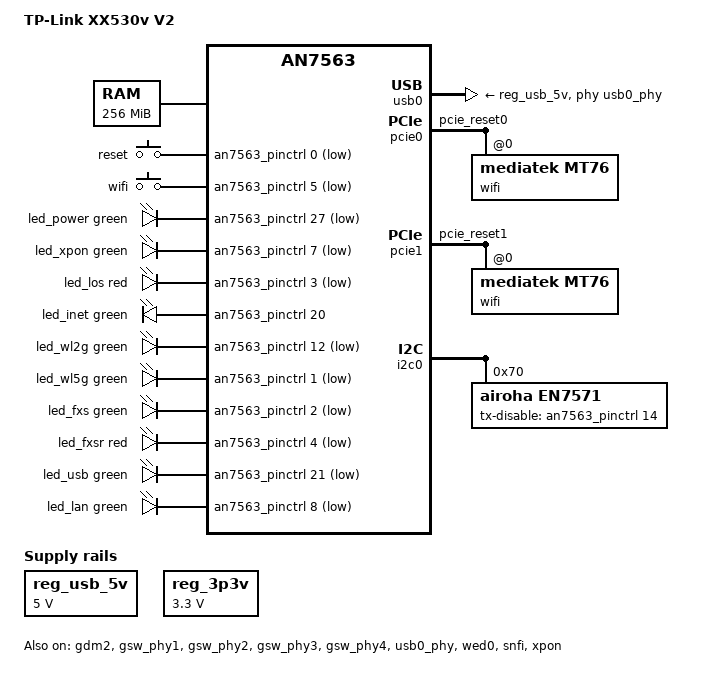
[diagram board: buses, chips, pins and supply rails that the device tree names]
// SPDX-License-Identifier: (GPL-2.0-only OR BSD-2-Clause)
/dts-v1/;

/*
 * TP-Link XX530v V2 (hw id "XX530vV2", vendor platform "JEDI"):
 * Airoha AN7552CT (the xPON package of the AN7563 die), 2x Cortex-A53 in
 * AArch32, 256 MiB PCDDR3, 128 MiB SPI-NAND (ESMT F50L1G41LB) with the
 * EcoNet BMT, GPON with an EN7571 laser driver, 4-port internal switch,
 * MT7916 (DBDC) on both PCIe links.
 *
 * The stock Econet U-Boot 2014.04 is kept and boots this board on its own.
 * Its default bootcmd is
 *
 *     bootcmd=flash tpimg;bootm 81800200
 *
 * "flash tpimg" reads the 512-byte TP-Link image tag from MTD_OFS_KERNEL
 * (0x620000), takes kernelLen from offset 0x78 of it and reloads
 * tag + kernelLen bytes to CONFIG_SYS_LOAD_ADDR (0x81800000), so the FIT
 * lands at 0x81800200 where "bootm" finds it.  The kernel is decompressed
 * to 0x80088000.
 *
 * Consequently the "kernel" partition below must hold the tagged FIT as raw
 * bytes - no UBI there - and the rootfs goes into the UBI partition that
 * follows.  See the partition table at the bottom of this file.
 */

/* ATF / BL31 resident area set up by the bootloader */
/memreserve/ 0x80000000 0x88000;

#include <dt-bindings/leds/common.h>
#include <dt-bindings/gpio/gpio.h>
#include <dt-bindings/input/input.h>
#include "an7563.dtsi"

/ {
	model = "TP-Link XX530v V2";
	compatible = "tplink,xx530v-v2", "airoha,an7552", "airoha,an7563";

	aliases {
		serial0 = &uart1;
		led-boot = &led_power;
		led-failsafe = &led_power;
		led-running = &led_power;
		led-upgrade = &led_power;
		label-mac-device = &gdm1;
	};

	chosen {
		/*
		 * Inert on this board, but kept in sync with CONFIG_CMDLINE in
		 * target/linux/airoha/an7563/config-6.18 so the intended
		 * command line is documented in one place too.  The stock
		 * bootloader overwrites this property unconditionally:
		 * image_setup_libfdt() calls fdt_chosen() with force=1
		 * (common/image-fdt.c:460), and fdt_chosen() then does
		 * fdt_setprop() with getenv("bootargs") because of the
		 * (path == NULL) || force test (common/fdt_support.c:265).
		 * CONFIG_CMDLINE_FORCE is what actually decides it.
		 */
		bootargs = "console=ttyS0,115200n8 earlycon root=/dev/ubiblock0_0 rootfstype=squashfs";

		/*
		 * This one is ours.  The bootloader leaves /chosen alone when
		 * the bootargs env variable is unset (the tftpboot/loady path),
		 * and earlycon without an explicit port resolves the console
		 * through of_chosen_stdout(), which reads exactly this.
		 */
		stdout-path = "serial0:115200n8";
	};

	memory@80000000 {
		device_type = "memory";
		reg = <0x80000000 0x10000000>;
	};

	/*
	 * xhci-mtk asks for "vbus" and "vusb33" and falls back to a dummy
	 * regulator for both.  The stock firmware has no USB power GPIO
	 * (led.conf and the stock DTB list none), so both rails are taken
	 * as always on: the 5 V VBUS of the port and the 3.3 V of the xHCI
	 * PHY.  If a GPIO switches VBUS on the board, put it on reg_usb_5v.
	 */
	reg_usb_5v: regulator-usb-5v {
		compatible = "regulator-fixed";
		regulator-name = "usb-vbus-5v";
		regulator-min-microvolt = <5000000>;
		regulator-max-microvolt = <5000000>;
		regulator-always-on;
		regulator-boot-on;
	};

	reg_3p3v: regulator-3p3v {
		compatible = "regulator-fixed";
		regulator-name = "fixed-3.3V";
		regulator-min-microvolt = <3300000>;
		regulator-max-microvolt = <3300000>;
		regulator-always-on;
		regulator-boot-on;
	};

	gpio-keys {
		compatible = "gpio-keys";

		reset {
			label = "reset";
			linux,code = <KEY_RESTART>;
			gpios = <&an7563_pinctrl 0 GPIO_ACTIVE_LOW>;
			debounce-interval = <100>;
		};

		wifi {
			label = "wifi";
			linux,code = <KEY_RFKILL>;
			gpios = <&an7563_pinctrl 5 GPIO_ACTIVE_LOW>;
			debounce-interval = <100>;
		};
	};

	gpio-leds {
		compatible = "gpio-leds";

		led_power: power {
			function = LED_FUNCTION_POWER;
			color = <LED_COLOR_ID_GREEN>;
			gpios = <&an7563_pinctrl 27 GPIO_ACTIVE_LOW>;
			default-state = "on";
		};

		led_xpon: xpon {
			color = <LED_COLOR_ID_GREEN>;
			function = "pon";
			gpios = <&an7563_pinctrl 7 GPIO_ACTIVE_LOW>;
			/* an7552-gpon LED trigger */
			linux,default-trigger = "xpon-pon";
		};

		led_los: los {
			color = <LED_COLOR_ID_RED>;
			function = "los";
			gpios = <&an7563_pinctrl 3 GPIO_ACTIVE_LOW>;
			linux,default-trigger = "xpon-los";
		};

		led_inet: inet {
			function = LED_FUNCTION_WAN_ONLINE;
			color = <LED_COLOR_ID_GREEN>;
			gpios = <&an7563_pinctrl 20 GPIO_ACTIVE_HIGH>;
		};

		led_wl2g: wl2g {
			function = LED_FUNCTION_WLAN_2GHZ;
			color = <LED_COLOR_ID_GREEN>;
			gpios = <&an7563_pinctrl 12 GPIO_ACTIVE_LOW>;
			linux,default-trigger = "phy0tpt";
		};

		led_wl5g: wl5g {
			function = LED_FUNCTION_WLAN_5GHZ;
			color = <LED_COLOR_ID_GREEN>;
			gpios = <&an7563_pinctrl 1 GPIO_ACTIVE_LOW>;
			linux,default-trigger = "phy1tpt";
		};

		led_fxs: fxs {
			color = <LED_COLOR_ID_GREEN>;
			function = "phone";
			gpios = <&an7563_pinctrl 2 GPIO_ACTIVE_LOW>;
		};

		led_fxsr: fxs-ring {
			color = <LED_COLOR_ID_RED>;
			function = "phone-ring";
			gpios = <&an7563_pinctrl 4 GPIO_ACTIVE_LOW>;
		};

		led_usb: usb {
			function = LED_FUNCTION_USB;
			color = <LED_COLOR_ID_GREEN>;
			gpios = <&an7563_pinctrl 21 GPIO_ACTIVE_LOW>;
		};

		led_lan: lan {
			function = LED_FUNCTION_LAN;
			color = <LED_COLOR_ID_GREEN>;
			gpios = <&an7563_pinctrl 8 GPIO_ACTIVE_LOW>;
		};
	};
};

&an7563_pinctrl {
	pcie0_rst_pins: pcie0-rst-pins {
		conf {
			pins = "pcie_reset0";
			drive-open-drain = <1>;
		};
	};

	pcie1_rst_pins: pcie1-rst-pins {
		conf {
			pins = "pcie_reset1";
			drive-open-drain = <1>;
		};
	};
};

&gdm1 {
	nvmem-cells = <&macaddr_lan 0>;
	nvmem-cell-names = "mac-address";
};

/*
 * GDM2 is the WAN port and is what makes airoha-eth touch QDMA1: the driver
 * picks &eth->qdma[1] for every non-LAN GDM device, so bringing this port
 * up starts the qdma1 rings, its four IRQ banks (SPI 38, 58, 59, 60) and the
 * GDM2 stats counters.
 *
 * This board is a GPON ONU: GDM2 feeds the on-chip xPON MAC, so there is no
 * PCS and no PHY behind it (phy-mode "internal", fixed-link; patch 925-04).
 * &pon_pcs stays disabled because &xpon owns the PON SerDes.
 *
 * The MAC cell is what keeps this netdev's address stable across boots.
 * Without it of_get_ethdev_address() finds nothing, the driver falls back to
 * eth_hw_addr_random() and every reboot logs a different "generated random
 * MAC address" line.  It is the &pon node's second cell (line below), and the
 * same one gdm1 takes: one factory address, shared, and nothing to conflict
 * over because neither address is ever sent - gdm1's goes to the frame engine
 * for the LAN ports and this one stays local, the datapath putting the GEM in
 * message header 0 so the OLT assigns what frames arrive with.  Only the low
 * bytes ever reach a register (airoha_set_macaddr() writes the MSBs to
 * REG_FE_WAN_MAC_H).
 */
&gdm2 {
	status = "okay";
	phy-mode = "internal";

	nvmem-cells = <&macaddr_lan 0>;
	nvmem-cell-names = "mac-address";

	fixed-link {
		speed = <2500>;
		full-duplex;
	};
};

&gsw_phy1 {
	status = "okay";
};

&gsw_phy2 {
	status = "okay";
};

&gsw_phy3 {
	status = "okay";
};

&gsw_phy4 {
	status = "okay";
};

&switch {
	ports {
		port@1 {
			label = "lan4";
			status = "okay";
		};

		port@2 {
			label = "lan3";
			status = "okay";
		};

		port@3 {
			label = "lan2";
			status = "okay";
		};

		port@4 {
			label = "lan1";
			status = "okay";
		};

	};
};

/*
 * The port is a 4 pin USB 2.0 socket (no SuperSpeed pairs; a USB 3.0 stick
 * links at 480 Mb/s on the stock unit too), so the USB3 side is left out:
 * its PHY is not listed, and the xHCI's only U3 port is disabled.
 */
&usb0 {
	phys = <&usb0_phy PHY_TYPE_USB2>;
	mediatek,u3p-dis-msk = <0x1>;
	vbus-supply = <&reg_usb_5v>;
	vusb33-supply = <&reg_3p3v>;
	status = "okay";
};

&usb0_phy {
	status = "okay";
};

/*
 * One MT7916 (DBDC, MT7976 RF): pcie0 is the main interface, pcie1 its
 * second HIF (device id 0x790a), which mt7915e picks up by itself and which
 * needs no node of its own.
 *
 * EEPROM: the flash holds a per-unit 4 KiB image at tclinux + 0x420000 (MISC
 * WiFi block).  It equals the generic /etc/MT7916_iPAiLNA_EEPROM.bin of the
 * vendor rootfs except for 72 bytes (MAC 00:0c:43:26:60:18 at offset 4 and
 * calibration values), so mt76 reads it from there through nvmem.
 */
/*
 * Wi-Fi TX offload through the WED (patches 928-xx).  The Wi-Fi card is a
 * single MT7916 DBDC on pcie0 (second HIF on pcie1), so one WED (WED0)
 * serves both bands.  The WED
 * is used only with "mt7915e wed_enable=1"; without it this just lets the
 * driver probe and the FE set up the WDMA flow control (928-02).
 */
&wed0 {
	status = "okay";
};

&wdma {
	status = "okay";
};

&pcie0 {
	pinctrl-names = "default";
	pinctrl-0 = <&pcie0_rst_pins>;
	status = "okay";

	pcie@0,0 {
		reg = <0x0000 0 0 0 0>;
		device_type = "pci";
		#address-cells = <3>;
		#size-cells = <2>;
		ranges;

		wifi@0,0 {
			compatible = "mediatek,mt76";
			reg = <0x0000 0 0 0 0>;
			/*
			 * WiFi RX through the NPU (mt76 patches 0102-0107).  The
			 * NPU port type is 2, as on the stock unit (PCIe windows
			 * 0x1fa90030..3c): band 1 (5 GHz) ring in the PCIe0
			 * window, band 0 (2.4 GHz) in the PCIe1 one.  Without
			 * the mt76 patches this property is ignored and wifi
			 * runs on the host.
			 */
			airoha,npu = <&npu>;
			airoha,eth = <&eth>;
			/*
			 * EEPROM is read by mt76 from tclinux + 0x420000
			 * (4 KiB).  No firmware-file fallback on purpose: if
			 * the cell cannot be read the failure has to be visible.
			 */
			nvmem-cells = <&eeprom_wifi>;
			nvmem-cell-names = "eeprom";
			#address-cells = <1>;
			#size-cells = <0>;

			/*
			 * MACs as on the stock unit: 2.4 GHz (ra0) the board
			 * MAC, 5 GHz (rai0) the board MAC + 2.  The EEPROM
			 * holds the generic 00:0c:43:26:60:18.
			 */
			band@0 {
				reg = <0>;
				nvmem-cells = <&macaddr_lan 0>;
				nvmem-cell-names = "mac-address";
			};

			band@1 {
				reg = <1>;
				nvmem-cells = <&macaddr_lan 2>;
				nvmem-cell-names = "mac-address";
			};
		};
	};
};

&pcie1 {
	pinctrl-names = "default";
	pinctrl-0 = <&pcie1_rst_pins>;
	status = "okay";

	pcie@0,0 {
		reg = <0x0000 0 0 0 0>;
		device_type = "pci";
		#address-cells = <3>;
		#size-cells = <2>;
		ranges;

		wifi@0,0 {
			compatible = "mediatek,mt76";
			reg = <0x0000 0 0 0 0>;
			/*
			 * WiFi RX through the NPU (mt76 patches 0102-0107).  The
			 * NPU port type is 2, as on the stock unit (PCIe windows
			 * 0x1fa90030..3c): band 1 (5 GHz) ring in the PCIe0
			 * window, band 0 (2.4 GHz) in the PCIe1 one.  Without
			 * the mt76 patches this property is ignored and wifi
			 * runs on the host.
			 */
			airoha,npu = <&npu>;
			airoha,eth = <&eth>;
		};
	};
};

&snfi {
	status = "okay";
};

&i2c0 {
	status = "okay";

	/*
	 * EN7571 laser driver / BOSA controller: the vendor driver reaches it
	 * through the sif wrapper on I2C adapter 0 (the only master,
	 * 0x1fbf8000), slave address 0x70.  There is no driver for this
	 * compatible yet, so nothing probes it; the node is left enabled so
	 * that adding the driver needs no DT change.
	 *
	 * en7571_init() programs bias/modulation current, so the driver must
	 * not be loaded on a board sharing the PON tree until the ONU has
	 * ranged: an ONU transmitting without ranging disturbs every other
	 * ONU behind the same splitter.  Until then the two transmitter lines
	 * below are requested asserted, which keeps the transmitter off.
	 */
	en7571: laser-driver@70 {
		compatible = "airoha,en7571";
		reg = <0x70>;
		#optical-frontend-cells = <0>;
		/*
		 * Transmitter disable line.  Stock /userfs/led.conf maps
		 * LED_PHY_TX_POWER_DISABLE (42) to GPIO 14, mode ONOFF, onoff 1
		 * (high = transmitter off).  LED_PHY_VCC_DISABLE (102) is
		 * "not used" (mode 0) on this board, so there is no BOSA VCC
		 * line.  en7571 requests the line asserted at probe, which
		 * keeps the laser off until the MAC enables it in O2.
		 */
		tx-disable-gpios = <&an7563_pinctrl 14 GPIO_ACTIVE_HIGH>;

		/*
		 * The BOSA calibration is a record at flash 0x4e0000 (magic
		 * 0x07050701 at offset 0x94), i.e. "oem" + 0xc0000.  The cell
		 * covers the whole matrix the driver uses, up to and including
		 * the Ibias/Imod LUT at 0xa0..0xdf (BOB_MAX_LEN); the layout is
		 * in package/kernel/en7571/src/en7571-hw.h.
		 *
		 * The cell is optional.  Without it (or with an unknown magic)
		 * the driver only arms the LOS detector and does not bring up
		 * the laser.  Stock instead falls back to the generic template
		 * /etc/7570_bob.conf; that is deliberately not copied, as it
		 * carries no trim of this BOSA.
		 */
		nvmem-cells = <&bosa_calibration>;
		nvmem-cell-names = "calibration";
	};
};

/*
 * &xpon is the whole GPON datapath: the GPON MAC and the PON SerDes PHY in
 * one node, one module (an7552-gpon).  The properties below are the
 * contract the driver reads (DOC-drv/25-driving-mainline.md).
 *
 * It shares 0x1faf3000-0x1faf4fff and the XPON_MAC / XPON_PHY resets with
 * pon_pcs, which therefore stays disabled on this board.
 */
&xpon {
	status = "okay";
	/*
	 * PON mode, deliberately absent, so the driver default (GPON) stands.
	 *
	 * The vendor numbers these the way Mode_Config_7552() branches on,
	 * (gpPhyPriv[0x58] & 0x7f) >> 3:
	 *
	 *   0  EPON (not supported by the driver)
	 *   1  GPON
	 *   10 GPON symmetric ("GPON_SYM_CONFIG")
	 *   11 a second GPON variant the vendor groups with mode 1
	 *
	 * and phy_mode_config() accepts exactly {1, 0, 10, 0xa705} - on both
	 * counts.  Writing 1 here was right and did not work: the driver
	 * carries its own numbering, GPON_MODE_GPON = 0 and
	 * GPON_MODE_GPON_SYM = 10 (uapi/gpon_genl.h), so 1 is not a mode
	 * it knows and an7552_phy_probe() rejected the whole platform device
	 * with -EOPNOTSUPP.  The two namespaces disagree about one value, and
	 * the property is the only place they would meet, so it is better left
	 * out than written in either.  This board is a GPON ONU either way.
	 *
	 * The SerDes sequence reads the mode for nine register values
	 * (an7552_mode_config_7552()), so a board that is not GPON would have
	 * to fix the enum rather than the DT - the driver would then take
	 * "GPON_SYM" and this board, which needs nothing, keeps its default.
	 */

	/*
	 * Delimiter and guard time.  Unlike the preamble this one is *not*
	 * board specific: the vendor writes the constant 0xaaab5983 from code,
	 * so the property is only here to make the value visible and
	 * overridable.  Every other value is a different guard time pattern.
	 */
	airoha,guard-bit-delimiter = <0xaaab5983>;

	/*
	 * Preamble pattern and extended preamble.
	 *
	 * Both registers have no default anywhere in the vendor: they are only
	 * written through the API call that carries whatever the OLT
	 * negotiated.  With no such call they keep their reset value, so the
	 * driver only touches them when a property is present here.  Omitting
	 * a property leaves the register alone rather than writing zero over
	 * the reset value, which is a different thing.
	 *
	 * phy_gpon_delimiter_guard() splits the guard register into a
	 * delimiter pattern in bits 23:0 and a guard time in bits 31:24, which
	 * is how the single value above is split.
	 */
	/* airoha,gpon-preamble / airoha,gpon-extend-preamble: not set */

	/*
	 * Bit delay.  The vendor accepts a value only below eight and writes it
	 * into the low byte of the CDR register; anything larger is refused as
	 * an error, so that is the range here too.  Zero leaves the register at
	 * its reset value.
	 */
	airoha,digital-bit-delay = <0>;

	/*
	 * Read from a running stock unit (PHY_CSR_XPON_SETTING 0x1faf0138 =
	 * 0x14f: RX SD/LOS inverted, PMA 0x1faf4100 bit 29 set; burst enable
	 * not inverted, PMA 0x1faf4200 bit 24 clear) and its TX swing
	 * (ANATXREG1 0x1faf01a0 [19:16] = 9).
	 *
	 * All four polarities are board wiring of this node and are read at
	 * probe, whether or not an optical front end turns up; the driver does
	 * not wait for one to learn them.  The stock unit shows the other three
	 * at their non-inverted values, which is the base 0x10f the driver
	 * writes when no property is present.
	 */
	airoha,rx-sd-inverted;
	/* airoha,tx-sd-inverted / tx-fault-inverted / burst-en-inverted: not set */
	airoha,tx-amplitude = <9>;

	/*
	 * Default GPON serial number from the OEM flash (stock "gpon_serial",
	 * flash 0x50f201, 16 ASCII hex digits); gpon.global.sn in
	 * /etc/config/gpon overrides it.  The flash has no ONU password.
	 *
	 * The second cell gives pon0 the same MAC as gdm1.  Without it
	 * of_get_ethdev_address() finds nothing and the driver calls
	 * eth_hw_addr_random(), so the address changes on every boot.  It is
	 * never sent out: the datapath puts the GEM in message header 0 and
	 * the OLT assigns the address frames are received to, so pon0 is not
	 * a bridge port either and this shares nothing with gdm1's FDB entry.
	 */
	nvmem-cells = <&gpon_serial>, <&macaddr_lan 0>;
	nvmem-cell-names = "gpon-serial-number", "mac-address";
};

&spi_nand {
	/*
	 * The stock bootloader manages a reserve pool at the end of the chip
	 * (it logs "bmt pool size: 81") and refuses to come up if the kernel
	 * computes a different one, so the pool size is asserted rather than
	 * derived.
	 */
	econet,bmt;
	econet,bbt-table-size = <250>;
	econet,assert-reserve-size = <81>;

	partitions {
		compatible = "fixed-partitions";
		#address-cells = <1>;
		#size-cells = <1>;

		/*
		 * U-Boot 2014.04 with its environment at 0x7c000.  The
		 * bootloader owns this area; nothing may rewrite it from
		 * Linux, because that would drop the vendor environment and
		 * with it the "flash tpimg" boot path.
		 */
		partition@0 {
			label = "bootloader";
			reg = <0x00000000 0x00080000>;
			read-only;
		};

		/*
		 * 0x80000..0x420000 is not mapped at all: the stock DTB's
		 * table for it is stale and the area holds nothing this
		 * needs.  Leaving it out means it cannot be written by
		 * accident.
		 *
		 * MISC, read-only.  Every offset below is the one the vendor
		 * code and U-Boot use, unchanged:
		 *
		 *   0x000000  config        (vendor web settings)
		 *   0x080000  MT7916 EEPROM / radio calibration (4 KiB)
		 *   0x0c0000  EN7571 BOSA calibration record
		 *   0x0f100  LAN MAC           (OTHER_OFS_MAC)
		 *   0x0f110  flashId + device key (OTHER_OFS_OEMID)
		 *   0x0f1e0  label MAC, 0x0f1f0 its type word
		 *   0x0f500  serial number
		 *   0x0ef201 GPON serial number, 16 ASCII hex digits
		 *
		 * Read through nvmem from the kernel, so the MAC never has
		 * to be fetched from userspace (mtdblock on a raw NAND
		 * partition warns and bypasses the BMT mapping).
		 */
		partition@420000 {
			label = "oem";
			reg = <0x00420000 0x00200000>;
			read-only;

			nvmem-layout {
				compatible = "fixed-layout";
				#address-cells = <1>;
				#size-cells = <1>;

				bosa_calibration: bosa-calibration@c0000 {
					reg = <0xc0000 0xe0>;	/* flash 0x4e0000 */
				};

				macaddr_lan: macaddr@4f100 {
					compatible = "mac-base";
					reg = <0x4f100 0x6>;
					#nvmem-cell-cells = <1>;
				};

				gpon_serial: gpon-serial@ef201 {
					reg = <0xef201 0x10>;	/* flash 0x50f201 */
				};

				sn: sn@4f500 {
					reg = <0x4f500 0xd>;
				};

				eeprom_wifi: eeprom@80000 {
					reg = <0x80000 0x1000>;
				};
			};
		};

		/*
		 * MTD_OFS_KERNEL: the one address the bootloader hardcodes.
		 * "flash tpimg" reads the 512-byte TP-Link image tag here and
		 * reloads tag + kernelLen bytes, so this partition holds the
		 * tagged FIT and nothing else - no UBI, which would put an
		 * erase counter header where the bootloader expects the tag.
		 */
		partition@620000 {
			label = "kernel";
			reg = <0x00620000 0x01000000>;
		};

		/*
		 * Rootfs and overlay.  Starts at the erase block right after
		 * the kernel and runs up to the BBT/BMT reserve pool at
		 * 0x75e0000 (block 943 of 1024).
		 */
		partition@1620000 {
			label = "ubi";
			reg = <0x01620000 0x05fc0000>;
			compatible = "linux,ubi";
		};
	};
};
